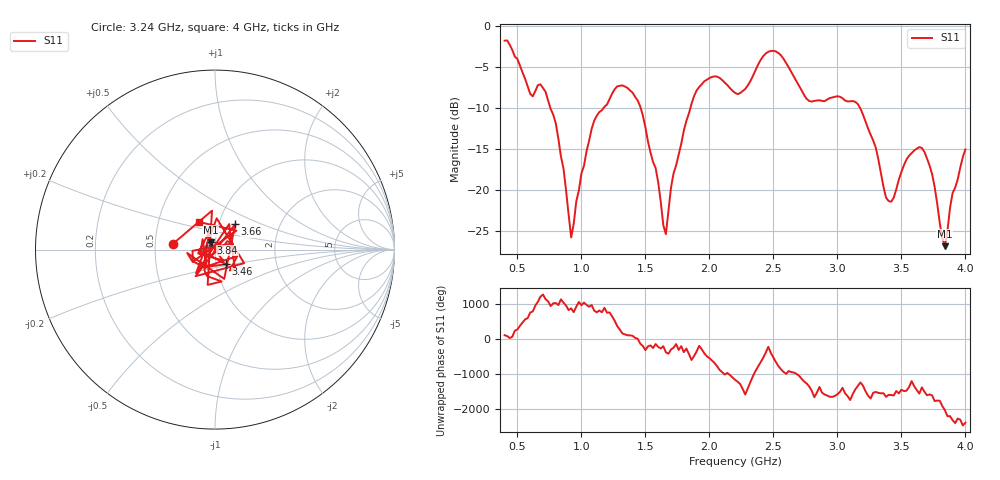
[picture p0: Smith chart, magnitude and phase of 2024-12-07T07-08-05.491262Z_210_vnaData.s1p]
!Created with skrf (http://scikit-rf.org).
# Hz S RI R 50.0
!freq ReS11 ImS11
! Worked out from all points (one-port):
!   181 points, 400 MHz to 4 GHz, reference 50 ohm
!   lowest |S11| = -26.8 dB at 3.84 GHz (marker M1), VSWR 1.10, Z = 47.6 + j3.8 ohm
!   |S11| at or under -10 dB: 757.9 MHz to 1.173 GHz (414.6 MHz wide, 43 % of centre); 1.464 GHz to 1.851 GHz (387.7 MHz wide, 23.4 % of centre); 3.178 GHz to end of sweep
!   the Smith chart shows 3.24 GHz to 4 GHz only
!   S11 on the Smith chart (normalised r, x): 3.24 GHz: 0.62, +0.04; 3.46 GHz: 1.12, -0.18; 3.66 GHz: 1.20, +0.35; 3.84 GHz: 0.95, +0.08; 4 GHz: 0.80, +0.25
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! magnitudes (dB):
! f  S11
! 400 MHz  -1.8
! 600 MHz  -8.3
! 720 MHz  -8.0
! 860 MHz  -17.4
! 920 MHz  -25.7
! 1.1 GHz  -11.5
! 1.3 GHz  -7.3
! 1.46 GHz  -9.8
! 1.58 GHz  -17.3
! 1.66 GHz  -25.3
! 1.7 GHz  -19.7
! 1.76 GHz  -15.7
! 1.88 GHz  -8.5
! 1.96 GHz  -6.7
! 2.2 GHz  -8.1
! 2.48 GHz  -3.0
! 2.66 GHz  -6.2
! 2.78 GHz  -9.1
! 3.1 GHz  -9.2
! 3.24 GHz  -12.5
! 3.38 GHz  -20.9
! 3.46 GHz  -19.9
! 3.56 GHz  -15.8
! 3.66 GHz  -14.8
! 3.74 GHz  -18.0
! 3.84 GHz  -26.8
! 3.9 GHz  -20.3
! 4 GHz  -15.0
